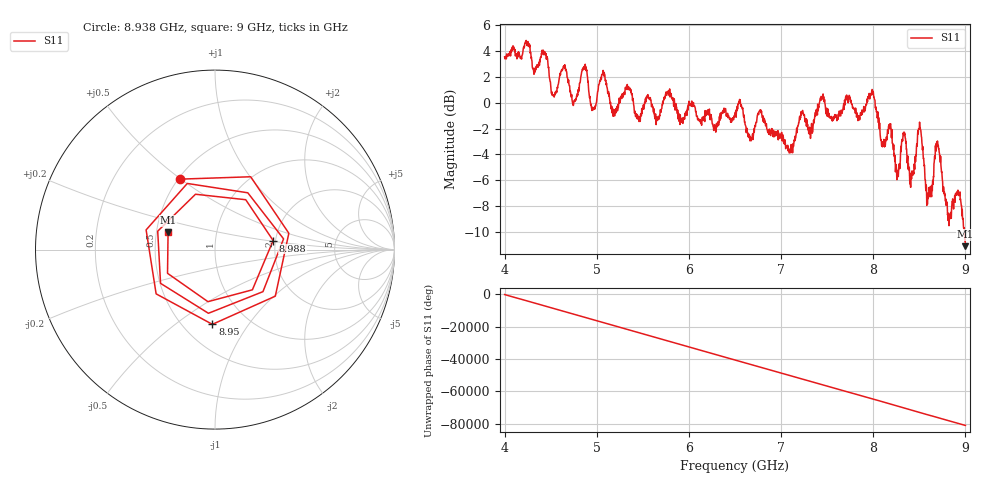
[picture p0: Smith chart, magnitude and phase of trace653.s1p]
! Created with skrf 1.8.0 (http://scikit-rf.org).
# Hz S RI R 50.0
!freq ReS11 ImS11
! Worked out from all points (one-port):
!   1601 points, 4 GHz to 9 GHz, reference 50 ohm
!   lowest |S11| = -11.1 dB at 9 GHz (marker M1), VSWR 1.77, Z = 28.8 + j6.03 ohm
!   |S11| at or under -10 dB: 8.989571 GHz to end of sweep
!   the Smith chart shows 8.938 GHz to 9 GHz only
!   S11 on the Smith chart (normalised r, x): 8.938 GHz: 0.51, +0.50; 8.95 GHz: 0.69, -0.69; 8.988 GHz: 1.94, +0.22; 9 GHz: 0.58, +0.12
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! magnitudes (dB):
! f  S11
! 4 GHz  3.5
! 4.425 GHz  4.0
! 4.531 GHz  0.6
! 4.625 GHz  2.5
! 4.75 GHz  0.0
! 4.866 GHz  2.6
! 4.956 GHz  -0.4
! 5.062 GHz  2.2
! 5.25 GHz  0.0
! 5.875 GHz  -0.8
! 6.5 GHz  -0.8
! 7.125 GHz  -3.9
! 7.438 GHz  0.4
! 7.75 GHz  0.4
! 7.994 GHz  0.7
! 8.103 GHz  -3.1
! 8.266 GHz  -5.7
! 8.331 GHz  -2.3
! 8.375 GHz  -4.1
! 8.422 GHz  -5.5
! 8.506 GHz  -1.9
! 8.594 GHz  -7.4
! 8.7 GHz  -3.2
! 8.822 GHz  -9.5
! 8.938 GHz  -7.2
! 8.95 GHz  -7.6
! 8.988 GHz  -9.7
! 9 GHz  -11.1
